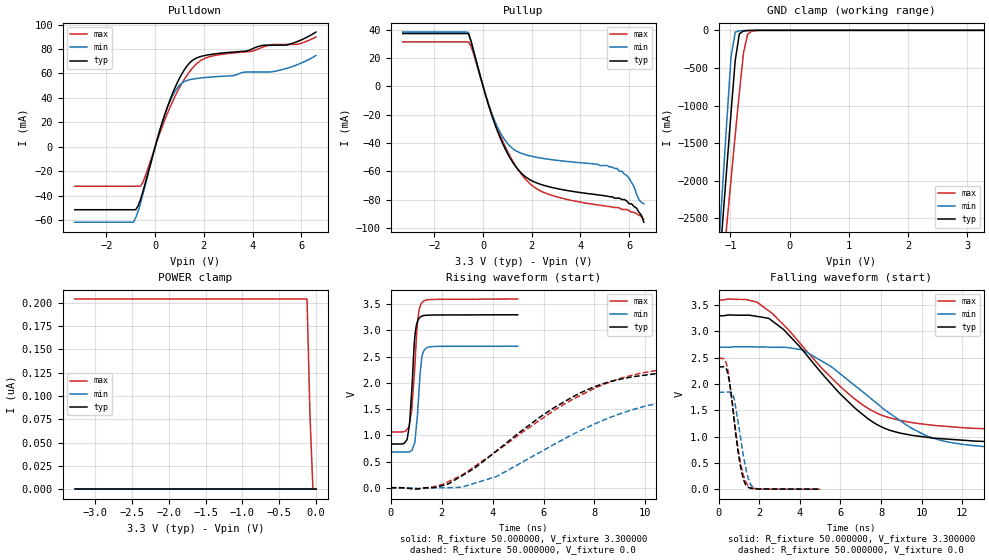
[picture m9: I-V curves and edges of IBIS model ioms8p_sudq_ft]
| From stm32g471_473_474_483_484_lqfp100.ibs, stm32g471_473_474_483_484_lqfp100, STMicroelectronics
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|   Model ioms8p_sudq_ft
[Model]  ioms8p_sudq_ft
Model_type I/O
Polarity   Non-Inverting
Enable   Active-Low
Vinl =   0.990000V
Vinh =   2.310000V
Vmeas =  1.650000V
Cref =   50.000000pF
Rref =   100.000000M
Vref =   0.0V
C_comp   2.036400pF   1.984000pF   2.082300pF
[Temperature Range]   25.000000   -40.000000   0.125000k
[Pullup Reference]   3.300000V   2.700000V   3.600000V
[Pulldown Reference]   0.0V   0.0V   0.0V
[POWER Clamp Reference]   3.300000V   2.700000V   3.600000V
[GND Clamp Reference]   0.0V   0.0V   0.0V
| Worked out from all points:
|   slope of the pulldown table from 0 to 0.495 V, typ, clamps not added: 15.4 ohm
|   slope of the pullup table from 0 to 0.495 V, typ, clamps not added: 18.1 ohm
|   GND clamp passes 1 mA (typ) near -0.60 V on its own axis
|   rising waveform, R_fixture 50.000000, V_fixture 3.300000: 20-80 % time 178ps typ, 188ps min, 206ps max; typ from 0.835 V to 3.3 V
|   rising waveform, R_fixture 50.000000, V_fixture 0.0: 20-80 % time 4.14ns typ, 4.68ns min, 4.89ns max; typ from 0 V to 2.33 V
|   falling waveform, R_fixture 50.000000, V_fixture 3.300000: 20-80 % time 3.64ns typ, 4.2ns min, 3.93ns max; typ from 3.3 V to 0.835 V
|   falling waveform, R_fixture 50.000000, V_fixture 0.0: 20-80 % time 466ps typ, 484ps min, 522ps max; typ from 2.33 V to 0 V
[Pulldown]
|Voltage   I(typ)   I(min)   I(max)
-3.3V     -51.63mA   -61.84mA   -32.32mA
-900mV    -51.63mA   -61.84mA   -32.32mA
-800mV    -51.63mA   -58.24mA   -32.32mA
-500mV    -36.51mA   -38.71mA   -28.96mA
400mV     26.66mA    26.58mA    22.18mA
800mV     47.72mA    44.74mA    40.6mA
1.1V      59.79mA    52.18mA    51.93mA
1.5V      70.22mA    55.24mA    63.66mA
2.1V      74.97mA    56.75mA    72.88mA
4.9V      83.19mA    61.75mA    83.83mA
5.9V      86.64mA    67.67mA    84.15mA
6.6V      93.9mA     74.68mA    89.84mA
[Pullup]
|Voltage   I(typ)   I(min)   I(max)
-3.3V     37.32mA    38.36mA    31.44mA
-600mV    37.32mA    38.01mA    31.44mA
100mV     -6.166mA   -5.972mA   -5.649mA
500mV     -27.53mA   -25.31mA   -25.83mA
1V        -47.29mA   -40.29mA   -45.86mA
1.5V      -60.05mA   -46.83mA   -60.43mA
2V        -66.7mA    -49.43mA   -69.91mA
2.7V      -70.92mA   -51.53mA   -76.33mA
5.5V      -79mA      -58mA      -85.6mA
6V        -83mA      -65mA      -88mA
6.3V      -86mA      -76mA      -90mA
6.6V      -96mA      -83mA      -94mA
[GND_clamp]
|Voltage   I(typ)   I(min)   I(max)
-3.3V     -9.812A    -9.822A    -9.937A
-1.2V     -3.251A    -2.905A    -3.763A
-1.13V    -2.527A    -2.046A    -3.165A
-1.06V    -1.808A    -1.191A    -2.57A
-990mV    -1.097A    -352.6mA   -1.979A
-920mV    -404.2mA   -25.08mA   -1.398A
-850mV    -46.53mA   -6.503mA   -832.3mA
-780mV    -8.496mA   -3.578mA   -302.4mA
-710mV    -3.383mA   -1.716mA   -53.8mA
-640mV    -1.589mA   -553.8uA   -11.72mA
-360mV    -2.023uA   0A         -84.67uA
3.28V     0A         0A         0A
[POWER_clamp]
|Voltage   I(typ)   I(min)   I(max)
-3.28V    0A         0A         204.1nA
-120mV    0A         0A         204.1nA
-80mV     0A         0A         79.47nA
-40mV     0A         0A         0A
0V        0A         0A         0A
[Ramp]
| variable   typ   min   max
dV/dt_r  1.39476/4.13944n   1.10718/4.67688n   1.49094/4.87883n
dV/dt_f  1.47906/3.63362n   1.20997/4.19949n   1.52112/3.92802n
R_load = 50.000000
[Rising Waveform]
R_fixture= 50.000000
V_fixture= 3.300000
V_fixture_min= 2.700000
V_fixture_max= 3.600000
|time   V(typ)   V(min)   V(max)
0s        835mV      683.3mV    1.065V
530.5ps   846.7mV    682.1mV    1.073V
710.7ps   1.12V      683.2mV    1.161V
820.8ps   1.813V     707.3mV    1.466V
961ps     2.942V     928.4mV    2.432V
1.061ns   3.186V     1.457V     3.188V
1.161ns   3.257V     2.214V     3.465V
1.261ns   3.28V      2.565V     3.549V
1.481ns   3.293V     2.682V     3.587V
4.985ns   3.3V       2.7V       3.6V
[Rising Waveform]
R_fixture= 50.000000
V_fixture= 0.0
V_fixture_min= 0.0
V_fixture_max= 0.0
|time   V(typ)   V(min)   V(max)
0s        11.64uV    -1.045uV   33.28uV
1.201ns   -11.32mV   -16.3mV    -15.15mV
2.242ns   69.34mV    757.2uV    111.1mV
4.164ns   706.5mV    215.6mV    699.7mV
5.846ns   1.343V     672.1mV    1.285V
7.528ns   1.827V     1.11V      1.78V
8.969ns   2.067V     1.404V     2.078V
10.73ns   2.189V     1.633V     2.261V
18.5ns    2.31V      1.831V     2.449V
39.88ns   2.325V     1.845V     2.485V
[Falling Waveform]
R_fixture= 50.000000
V_fixture= 3.300000
V_fixture_min= 2.700000
V_fixture_max= 3.600000
|time   V(typ)   V(min)   V(max)
0s        3.3V       2.7V       3.6V
1.922ns   3.285V     2.706V     3.549V
2.482ns   3.247V     2.702V     3.389V
4.164ns   2.633V     2.645V     2.706V
6.086ns   1.776V     2.164V     1.919V
7.367ns   1.336V     1.766V     1.536V
9.369ns   1.035V     1.189V     1.276V
11.37ns   949.5mV    892.9mV    1.19V
15.46ns   881.1mV    752.9mV    1.113V
39.88ns   835mV      683.3mV    1.065V
[Falling Waveform]
R_fixture= 50.000000
V_fixture= 0.0
V_fixture_min= 0.0
V_fixture_max= 0.0
|time   V(typ)   V(min)   V(max)
0s        2.325V     1.845V     2.485V
400.4ps   2.271V     1.847V     2.368V
540.5ps   2.027V     1.85V      2.048V
720.7ps   1.468V     1.78V      1.489V
1.081ns   425.3mV    977.8mV    500.1mV
1.281ns   125.5mV    508mV      195.6mV
1.441ns   40.06mV    236.8mV    73.35mV
1.662ns   11.29mV    46.19mV    19.57mV
1.882ns   5.052mV    11.21mV    7.957mV
4.985ns   11.64uV    -1.045uV   33.28uV
